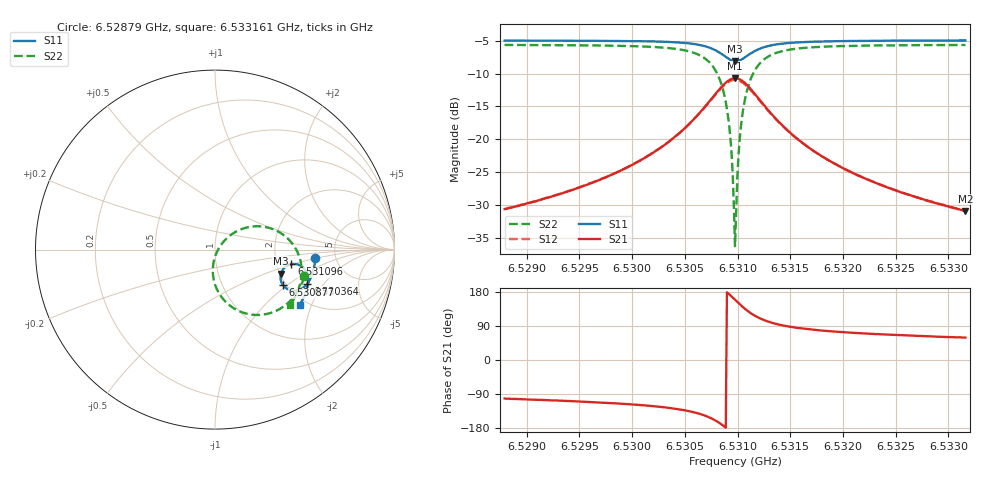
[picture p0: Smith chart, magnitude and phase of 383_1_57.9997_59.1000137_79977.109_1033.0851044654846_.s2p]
#  HZ  S  RI  R  50.00
! Rohde & Schwarz Vector Network Analyzer
! Rohde-Schwarz,ZNB20-2Port,1311601062101988,3.16
! Created: UTC 3/21/2024, 1:07:24 AM
! freq[Hz]  re:S11  im:S11  re:S21  im:S21  re:S12  im:S12  re:S22  im:S22
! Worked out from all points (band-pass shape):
!   401 points, 6.52879 GHz to 6.533161 GHz, reference 50 ohm
!   highest |S21| = -10.72 dB at 6.530976 GHz (marker M1); lowest = -30.9 dB at 6.533161 GHz (marker M2)
!   |S21| within 3 dB of the highest: 6.530758 GHz to 6.531195 GHz (436.4 kHz wide, 0.00668 % of centre)
!   lowest |S11| = -8.2 dB at 6.530976 GHz (marker M3), VSWR 2.28, Z = 101 - j31.9 ohm
!   |S11| at or under -10 dB: nowhere
!   |S22| runs from -36.2 to -5.7 dB; largest |S21 - S12| = 0.011
!   S11 on the Smith chart (normalised r, x): 6.52879 GHz: 3.49, -0.47; 6.530364 GHz: 2.57, -1.40; 6.530877 GHz: 1.92, -0.94; 6.531096 GHz: 2.41, -0.48; 6.533161 GHz: 1.82, -1.65
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6.5287898e9  0.5593 -0.0466  -0.00588 -0.029  -0.00664 -0.0289  0.4986 -0.1495
6.529522e9  0.5501 -0.1067  -0.0149 -0.0412  -0.0158 -0.041  0.4702 -0.2162
6.5302542e9  0.5231 -0.1776  -0.0465 -0.0709  -0.0485 -0.0698  0.3931 -0.3089
6.5303635e9  0.5144 -0.1903  -0.059 -0.0786  -0.061 -0.077  0.367 -0.327
6.5307132e9  0.4483 -0.2286  -0.16 -0.0951  -0.1621 -0.0887  0.1759 -0.3569
6.5308116e9  0.4081 -0.2217  -0.2223 -0.0672  -0.2215 -0.0584  0.0703 -0.3013
6.5308772e9  0.3797 -0.1985  -0.2641 -0.0176  -0.2593 -0.00855  0.00644 -0.2114
6.5309209e9  0.367 -0.1725  -0.2799 0.0325  -0.2722 0.04  -0.0121 -0.1254
6.5309318e9  0.3655 -0.165  -0.2811 0.0465  -0.2728 0.0533  -0.012 -0.102
6.5309537e9  0.365 -0.1491  -0.2793 0.0754  -0.2699 0.0808  -0.00435 -0.0546
6.5309646e9  0.3658 -0.1412  -0.2762 0.09  -0.2665 0.0944  0.00307 -0.0312
6.5309755e9  0.3677 -0.1333  -0.2718 0.1041  -0.2619 0.1077  0.0127 -0.00878
6.5309864e9  0.3704 -0.1257  -0.2659 0.1179  -0.2559 0.1205  0.0245 0.0129
6.5309974e9  0.3737 -0.1184  -0.2585 0.1307  -0.2488 0.1324  0.0384 0.0331
6.5310192e9  0.3828 -0.1054  -0.2408 0.1539  -0.2315 0.154  0.0712 0.0684
6.5310411e9  0.3941 -0.0948  -0.2198 0.1725  -0.2113 0.1713  0.1088 0.0955
6.5310957e9  0.4258 -0.081  -0.162 0.1979  -0.1564 0.1951  0.2086 0.1286
6.5311722e9  0.4648 -0.0842  -0.0935 0.196  -0.0905 0.1933  0.3239 0.1134
6.5312815e9  0.4977 -0.107  -0.0357 0.1659  -0.0342 0.1645  0.4179 0.0486
6.5317077e9  0.5195 -0.1832  0.0141 0.082  0.0152 0.0817  0.4831 -0.1292
6.5324399e9  0.4995 -0.2556  0.0168 0.0392  0.0174 0.0391  0.4557 -0.2449
6.5331612e9  0.4714 -0.3084  0.0147 0.0246  0.0153 0.0243  0.4203 -0.3067
